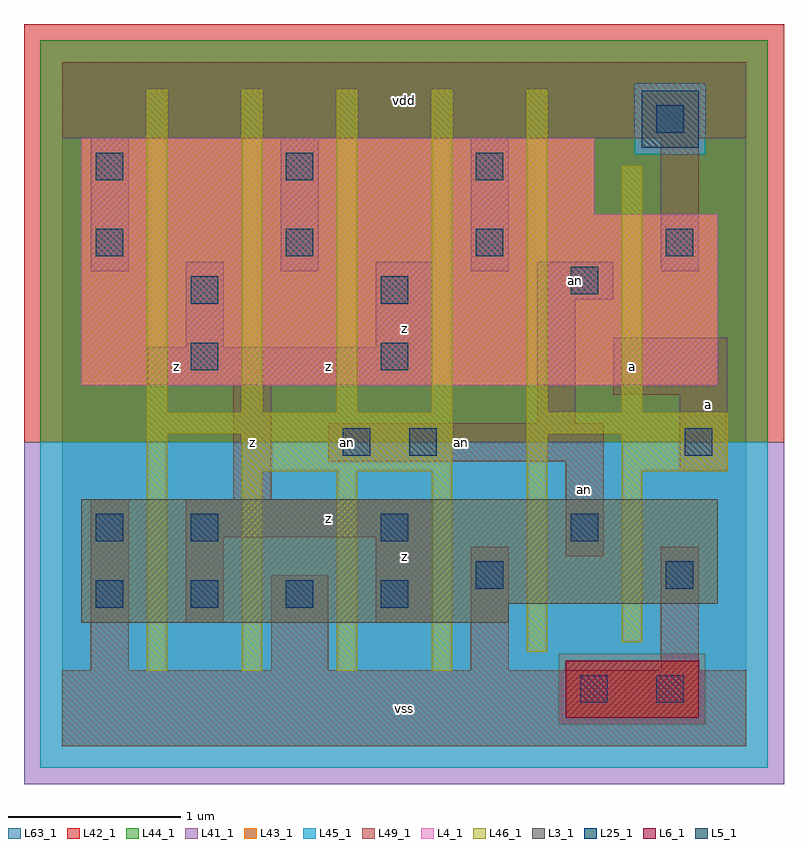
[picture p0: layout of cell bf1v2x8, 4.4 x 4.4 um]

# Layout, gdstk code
import gdstk
lib = gdstk.Library(unit=1e-6, precision=1e-09)
def R(c, l, rs):  # rectangles x0, y0, x1, y1
    for r in rs: c.add(gdstk.rectangle(r[:2], r[2:], *l))
def A(c, l, x, y, w, h, nx, ny, dx, dy):  # array of equal rectangles
    R(c, l, [(x+i*dx, y+j*dy, x+i*dx+w, y+j*dy+h) for i in range(nx) for j in range(ny)])
L3_1 = (3, 1)
L4_1 = (4, 1)
L5_1 = (5, 1)
L6_1 = (6, 1)
L25_1 = (25, 1)
L41_1 = (41, 1)
L42_1 = (42, 1)
L43_1 = (43, 1)
L44_1 = (44, 1)
L45_1 = (45, 1)
L46_1 = (46, 1)
L49_1 = (49, 1)
L63_1 = (63, 1)

bf1v2x8 = lib.new_cell('bf1v2x8')
R(bf1v2x8, L3_1, [(0.11,0.715,2.585,0.825), (0.11,0.825,3.795,1.43)])
R(bf1v2x8, L4_1, [(0.11,2.09,3.795,3.08), (0.11,3.08,3.08,3.52)])
R(bf1v2x8, L5_1, [(3.355,3.465,3.685,3.795)])
R(bf1v2x8, L6_1, [(2.915,0.165,3.685,0.495)])
A(bf1v2x8, L25_1, 0.195, 0.8, 0.16, 0.16, 4, 1, 0.55, 0)
A(bf1v2x8, L25_1, 0.745, 1.185, 0.16, 0.16, 3, 1, 1.1, 0)
A(bf1v2x8, L25_1, 0.195, 2.835, 0.16, 0.16, 4, 1, 1.1, 0)
A(bf1v2x8, L25_1, 0.195, 3.275, 0.16, 0.16, 3, 1, 1.1, 0)
R(bf1v2x8, L25_1, [(3,0.25,3.16,0.41), (3.44,0.25,3.6,0.41), (2.395,0.91,2.555,1.07), (3.495,0.91,3.655,1.07), (0.195,1.185,0.355,1.345), (1.625,1.68,1.785,1.84), (2.01,1.68,2.17,1.84), (3.605,1.68,3.765,1.84), (0.745,2.175,0.905,2.335), (1.845,2.175,2.005,2.335), (0.745,2.56,0.905,2.72), (1.845,2.56,2.005,2.72), (2.945,2.615,3.105,2.775), (3.44,3.55,3.6,3.71)])
R(bf1v2x8, L41_1, [(-0.22,-0.22,4.18,1.76)])
R(bf1v2x8, L42_1, [(-0.22,1.76,4.18,4.18)])
R(bf1v2x8, L43_1, [(2.915,0.165,3.685,0.495), (0.11,0.715,2.585,0.825), (0.11,0.825,3.795,1.43), (0.11,2.09,3.795,3.08), (0.11,3.08,3.08,3.52), (3.355,3.465,3.685,3.795)])
R(bf1v2x8, L44_1, [(2.875,0.125,3.725,0.535), (-0.125,1.76,4.085,3.425), (-0.125,3.425,3.315,3.835), (3.725,3.425,4.085,3.835), (-0.125,3.835,4.085,4.085)])
R(bf1v2x8, L45_1, [(-0.125,-0.125,4.085,0.125), (-0.125,0.125,2.875,0.535), (3.725,0.125,4.085,0.535), (-0.125,0.535,4.085,1.76), (3.315,3.425,3.725,3.835)])
A(bf1v2x8, L46_1, 1.04, 0.435, 0.12, 1.155, 3, 1, 0.55, 0)
A(bf1v2x8, L46_1, 0.49, 1.93, 0.12, 1.87, 5, 1, 0.55, 0)
R(bf1v2x8, L46_1, [(0.49,0.435,0.61,1.81), (2.69,0.545,2.81,1.81), (3.24,0.6,3.36,1.59), (1.04,1.59,2.26,1.81), (3.24,1.59,3.855,1.81), (0.49,1.81,2.26,1.93), (2.69,1.81,3.855,1.93), (3.24,1.93,3.36,3.36)])
A(bf1v2x8, L49_1, 0.165, 2.75, 0.22, 0.77, 4, 1, 1.1, 0)
R(bf1v2x8, L49_1, [(0,0,3.96,0.44), (0.165,0.44,0.385,1.43), (1.21,0.44,1.54,0.99), (2.365,0.44,2.585,1.155), (3.465,0.44,3.685,1.155), (0.715,0.715,0.935,1.21), (1.815,0.715,2.145,1.21), (2.915,1.1,3.135,1.65), (0.715,1.21,2.145,1.43), (0.99,1.43,1.21,2.09), (3.575,1.595,3.85,2.035), (1.54,1.65,3.135,1.87), (2.75,1.87,2.97,2.585), (3.19,2.035,3.85,2.365), (0.495,2.09,2.145,2.31), (0.715,2.31,0.935,2.805), (1.815,2.31,2.145,2.805), (2.75,2.585,3.19,2.805), (0,3.52,3.96,3.96)])
R(bf1v2x8, L63_1, [(0,0,3.96,3.96)])
bf1v2x8.add(gdstk.Label('an', (1.65,1.76), layer=49, texttype=1))
bf1v2x8.add(gdstk.Label('z', (0.66,2.2), layer=49, texttype=1))
bf1v2x8.add(gdstk.Label('z', (1.1,1.76), layer=49, texttype=1))
bf1v2x8.add(gdstk.Label('z', (1.54,1.32), layer=49, texttype=1))
bf1v2x8.add(gdstk.Label('z', (1.54,2.2), layer=49, texttype=1))
bf1v2x8.add(gdstk.Label('vss', (1.98,0.22), layer=49, texttype=1))
bf1v2x8.add(gdstk.Label('z', (1.98,1.1), layer=49, texttype=1))
bf1v2x8.add(gdstk.Label('z', (1.98,2.42), layer=49, texttype=1))
bf1v2x8.add(gdstk.Label('vdd', (1.98,3.74), layer=49, texttype=1))
bf1v2x8.add(gdstk.Label('an', (3.025,1.485), layer=49, texttype=1))
bf1v2x8.add(gdstk.Label('an', (2.31,1.76), layer=49, texttype=1))
bf1v2x8.add(gdstk.Label('a', (3.3,2.2), layer=49, texttype=1))
bf1v2x8.add(gdstk.Label('a', (3.74,1.98), layer=49, texttype=1))
bf1v2x8.add(gdstk.Label('an', (2.97,2.695), layer=49, texttype=1))

lib.write_gds('bf1v2x8.gds')
